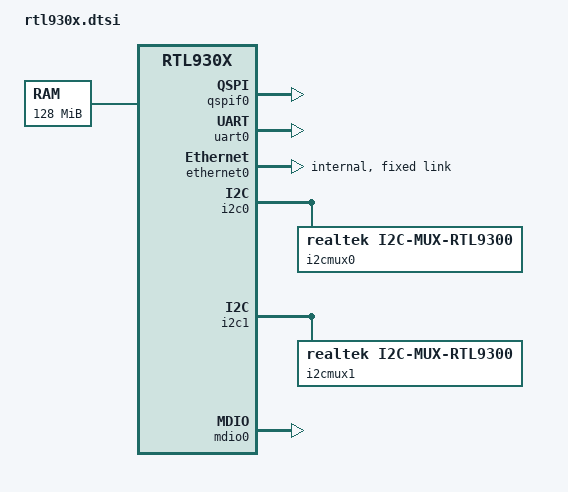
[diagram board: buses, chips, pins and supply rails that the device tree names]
// SPDX-License-Identifier: GPL-2.0-or-later OR MIT

/dts-v1/;

#include <dt-bindings/clock/rtl83xx-clk.h>
#include <dt-bindings/gpio/gpio.h>
#include <dt-bindings/input/input.h>
#include <dt-bindings/leds/common.h>

/ {
	#address-cells = <1>;
	#size-cells = <1>;

	compatible = "realtek,rtl930x-soc";

	aliases {
		serial0 = &uart0;
		serial1 = &uart1;

		led-boot = &sys_led;
		led-failsafe = &sys_led;
		led-running = &sys_led;
		led-upgrade = &sys_led;
	};

	chosen {
		bootargs = "earlycon";
		stdout-path = "serial0:115200n8";
	};

	cpus {
		#address-cells = <1>;
		#size-cells = <0>;
		frequency = <800000000>;

		cpu@0 {
			compatible = "mips,mips34Kc";
			reg = <0>;
		};
	};

	cpuintc: cpuintc {
		compatible = "mti,cpu-interrupt-controller";
		#address-cells = <0>;
		#interrupt-cells = <1>;
		interrupt-controller;
	};

	keys {
		compatible = "gpio-keys";

		reset_button: reset {
			label = "reset";
			linux,code = <KEY_RESTART>;

			status = "disabled";
		};
	};

	leds {
		compatible = "gpio-leds";

		pinctrl-names = "default";
		pinctrl-0 = <&pinmux_disable_sys_led>;

		sys_led: sys-led {
			color = <LED_COLOR_ID_GREEN>;
			function = LED_FUNCTION_STATUS;
			gpios = <&gpio0 0 GPIO_ACTIVE_HIGH>;
			panic-indicator;

			status = "disabled";
		};
	};

	lx_clk: lx_clk {
		compatible = "fixed-clock";
		#clock-cells = <0>;
		clock-frequency  = <175000000>;
	};

	lxp: lexra-busp {
		compatible = "lexra-bus", "simple-bus";
		#address-cells = <1>;
		#size-cells = <1>;
		ranges = <0x18000000 0x18000000 0x200000>;

		gpio0: gpio-controller@18003300 {
			compatible = "realtek,rtl9300-gpio", "realtek,otto-gpio";
			reg = <0x18003300 0x1c>, <0x18003338 0x8>;

			gpio-controller;
			#gpio-cells = <2>;
			ngpios = <24>;

			interrupt-controller;
			#interrupt-cells = <2>;
			interrupt-parent = <&intc>;
			interrupts = <13 1>;
		};

		intc: interrupt-controller@18003000 {
			compatible = "realtek,rtl9300-intc", "realtek,rtl-intc";
			reg = <0x18003000 0x18>, <0x18003018 0x18>;
			interrupt-controller;
			#interrupt-cells = <2>;

			interrupt-parent = <&cpuintc>;
			interrupts = <2>, <3>, <4>, <5>, <6>, <7>;
		};

		qspif0: qspif@18001200 {
			compatible = "realtek,rtl8380-spi";
			reg = <0x18001200 0x100>;

			#address-cells = <1>;
			#size-cells = <0>;
		};

		timer0: timer@18003200 {
			compatible = "realtek,rtl930x-timer", "realtek,otto-timer";
			reg = <0x18003200 0x10>,
			      <0x18003210 0x10>,
			      <0x18003220 0x10>,
			      <0x18003230 0x10>,
			      <0x18003240 0x10>;

			interrupt-parent = <&intc>;
			interrupts = <7 4>, <8 4>, <9 4>, <10 4>, <11 4>;
			clocks = <&lx_clk>;
		};

		uart0: uart@18002000 {
			compatible = "ns16550a";
			reg = <0x18002000 0x100>;

			clocks = <&lx_clk>;

			interrupt-parent = <&intc>;
			interrupts = <30 1>;

			reg-io-width = <1>;
			reg-shift = <2>;
			fifo-size = <1>;
			no-loopback-test;
		};

		uart1: uart@18002100 {
			compatible = "ns16550a";
			reg = <0x18002100 0x100>;

			clocks = <&lx_clk>;

			interrupt-parent = <&intc>;
			interrupts = <31 0>;

			reg-io-width = <1>;
			reg-shift = <2>;
			fifo-size = <1>;
			no-loopback-test;

			status = "disabled";
		};

		watchdog0: watchdog@18003260 {
			compatible = "realtek,rtl9300-wdt";
			reg = <0x18003260 0xc>;

			realtek,reset-mode = "soc";

			clocks = <&lx_clk>;
			timeout-sec = <30>;

			interrupt-parent = <&intc>;
			interrupt-names = "phase1", "phase2";
			interrupts = <5 4>, <6 4>;
		};
	};

	lx0: lexra-bus0 {
		compatible = "lexra-bus", "simple-bus";
		#address-cells = <1>;
		#size-cells = <1>;
		ranges = <0x1b000000 0x1b000000 0x10000>;

		ethernet0: ethernet@1b00a300 {
			compatible = "realtek,rtl838x-eth";
			reg = <0x1b00a300 0x100>;

			interrupt-parent = <&intc>;
			interrupts = <24 3>;

			phy-mode = "internal";
			mdio-bus = <&mdio0>;

			fixed-link {
				speed = <1000>;
				full-duplex;
			};
		};

		i2c0: i2c0@1b00036c {
			reg = <0x1b00036c 0x1c>;
			compatible = "realtek,rtl9300-i2c", "realtek,rtl930x-i2c";
			#address-cells = <1>;
			#size-cells = <0>;

			status = "disabled";
		};

		i2c1: i2c1@1b000388 {
			reg = <0x1b000388 0x1c>;
			compatible = "realtek,rtl9300-i2c", "realtek,rtl930x-i2c";
			#address-cells = <1>;
			#size-cells = <0>;

			status = "disabled";
		};

		i2cmux0 {
			compatible = "realtek,i2c-mux-rtl9300", "realtek,i2c-mux-rtl930x";
			#address-cells = <1>;
			#size-cells = <0>;
			i2c-parent = <&i2c0>;

			i2c0_0: i2c0@0 {
				reg = <0>;
				#address-cells = <1>;
				#size-cells = <0>;

				sda-pin = <9>;
				scl-pin = <8>;
				status = "disabled";
			};

			i2c0_1: i2c0@1 {
				reg = <1>;
				#address-cells = <1>;
				#size-cells = <0>;

				sda-pin = <10>;
				scl-pin = <8>;
				status = "disabled";
			};

			i2c0_2: i2c0@2 {
				reg = <2>;
				#address-cells = <1>;
				#size-cells = <0>;

				sda-pin = <11>;
				scl-pin = <8>;
				status = "disabled";
			};

			i2c0_3: i2c0@3 {
				reg = <3>;
				#address-cells = <1>;
				#size-cells = <0>;

				sda-pin = <12>;
				scl-pin = <8>;
				status = "disabled";
			};

			i2c0_4: i2c0@4 {
				reg = <4>;
				#address-cells = <1>;
				#size-cells = <0>;

				sda-pin = <13>;
				scl-pin = <8>;
				status = "disabled";
			};

			i2c0_5: i2c0@5 {
				reg = <5>;
				#address-cells = <1>;
				#size-cells = <0>;

				sda-pin = <14>;
				scl-pin = <8>;
				status = "disabled";
			};

			i2c0_6: i2c0@6 {
				reg = <6>;
				#address-cells = <1>;
				#size-cells = <0>;

				sda-pin = <15>;
				scl-pin = <8>;
				status = "disabled";
			};

			i2c0_7: i2c0@7 {
				reg = <7>;
				#address-cells = <1>;
				#size-cells = <0>;

				sda-pin = <16>;
				scl-pin = <8>;
				status = "disabled";
			};
		};

		i2cmux1 {
			compatible = "realtek,i2c-mux-rtl9300", "realtek,i2c-mux-rtl930x";
			#address-cells = <1>;
			#size-cells = <0>;
			i2c-parent = <&i2c1>;

			i2c1_0: i2c1@0 {
				reg = <0>;
				#address-cells = <1>;
				#size-cells = <0>;

				sda-pin = <9>;
				scl-pin = <17>;
				status = "disabled";
			};

			i2c1_1: i2c1@1 {
				reg = <1>;
				#address-cells = <1>;
				#size-cells = <0>;

				sda-pin = <10>;
				scl-pin = <17>;
				status = "disabled";
			};

			i2c1_2: i2c1@2 {
				reg = <2>;
				#address-cells = <1>;
				#size-cells = <0>;

				sda-pin = <11>;
				scl-pin = <17>;
				status = "disabled";
			};

			i2c1_3: i2c1@3 {
				reg = <3>;
				#address-cells = <1>;
				#size-cells = <0>;

				sda-pin = <12>;
				scl-pin = <17>;
				status = "disabled";
			};

			i2c1_4: i2c1@4 {
				reg = <4>;
				#address-cells = <1>;
				#size-cells = <0>;

				sda-pin = <13>;
				scl-pin = <17>;
				status = "disabled";
			};

			i2c1_5: i2c0@5 {
				reg = <5>;
				#address-cells = <1>;
				#size-cells = <0>;

				sda-pin = <14>;
				scl-pin = <17>;
				status = "disabled";
			};

			i2c1_6: i2c1@6 {
				reg = <6>;
				#address-cells = <1>;
				#size-cells = <0>;

				sda-pin = <15>;
				scl-pin = <17>;
				status = "disabled";
			};

			i2c1_7: i2c1@7 {
				reg = <7>;
				#address-cells = <1>;
				#size-cells = <0>;

				sda-pin = <16>;
				scl-pin = <17>;
				status = "disabled";
			};
		};

		mdio0: mdio-bus@1b00ca00 {
			compatible = "realtek,rtl930x-mdio", "realtek,rtl838x-mdio";
			#address-cells = <1>;
			#size-cells = <0>;
		};

		pinmux_led: pinmux@1b00cc00 {
			compatible = "pinctrl-single";
			reg = <0x1b00cc00 0x4>;

			pinctrl-single,bit-per-mux;
			pinctrl-single,register-width = <32>;
			pinctrl-single,function-mask = <0x1>;
			#pinctrl-cells = <2>;

			/* enable GPIO 0 */
			pinmux_disable_sys_led: disable_sys_led {
				pinctrl-single,bits = <0x0 0x0 0x1000>;
			};
		};

		switch@1b000000 {
			compatible = "realtek,rtl83xx-switch";

			interrupt-parent = <&intc>;
			interrupts = <23 2>;

			switch0_ports: ports {
				#address-cells = <1>;
				#size-cells = <0>;

				/* Internal SoC <-> Switch ethernet connection */
				port@28 {
					reg = <28>;
					ethernet = <&ethernet0>;
					phy-mode = "internal";

					fixed-link {
						speed = <1000>;
						full-duplex;
					};
				};
			};
		};
	};

	memory@0 {
		device_type = "memory";
		reg = <0x0 0x8000000>;
	};
};
